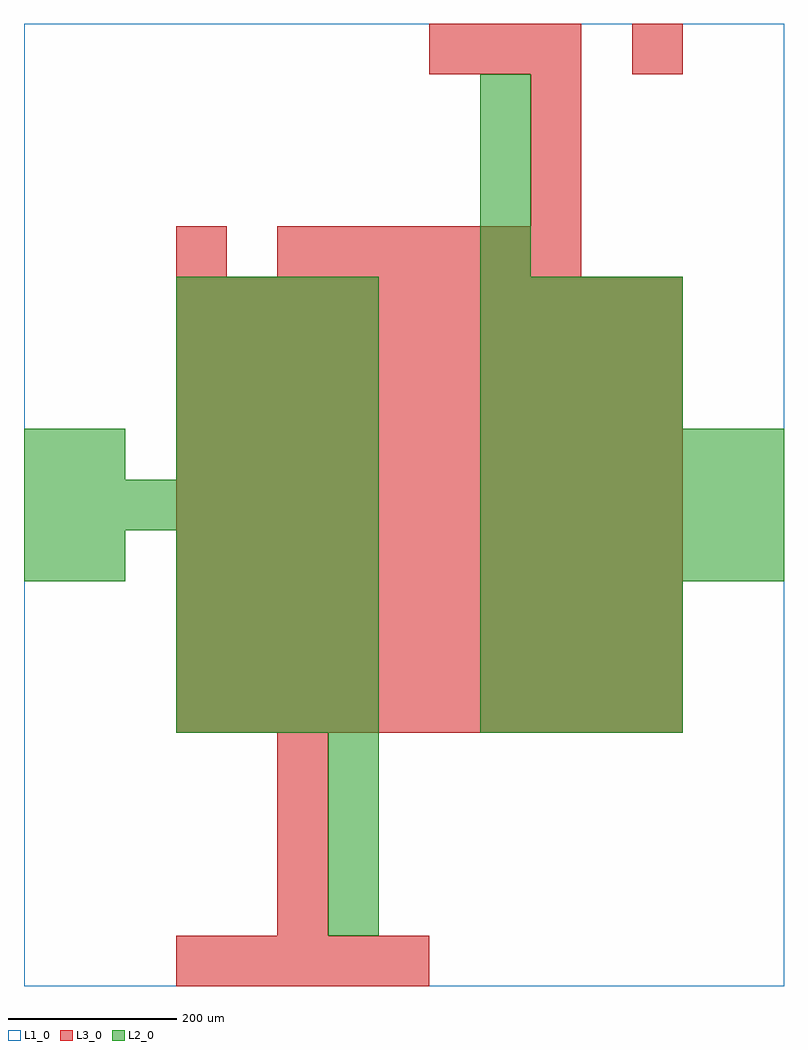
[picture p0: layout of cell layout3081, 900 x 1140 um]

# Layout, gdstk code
import gdstk
lib = gdstk.Library(unit=1e-6, precision=1e-09)
def R(c, l, rs):  # rectangles x0, y0, x1, y1
    for r in rs: c.add(gdstk.rectangle(r[:2], r[2:], *l))
def A(c, l, x, y, w, h, nx, ny, dx, dy):  # array of equal rectangles
    R(c, l, [(x+i*dx, y+j*dy, x+i*dx+w, y+j*dy+h) for i in range(nx) for j in range(ny)])
L1_0 = (1, 0)
L2_0 = (2, 0)
L3_0 = (3, 0)

layout3081 = lib.new_cell('layout3081')
R(layout3081, L1_0, [(0,0,900,1140)])
A(layout3081, L2_0, 360, 60, 60, 60, 1, 4, 0, 60)
A(layout3081, L2_0, 180, 300, 60, 60, 4, 4, 60, 60)
A(layout3081, L2_0, 540, 300, 60, 60, 4, 3, 60, 60)
A(layout3081, L2_0, 540, 480, 60, 60, 6, 3, 60, 60)
A(layout3081, L2_0, 0, 540, 60, 60, 7, 1, 60, 0)
A(layout3081, L2_0, 180, 600, 60, 60, 4, 4, 60, 60)
A(layout3081, L2_0, 540, 660, 60, 60, 4, 3, 60, 60)
A(layout3081, L2_0, 540, 840, 60, 60, 1, 4, 0, 60)
R(layout3081, L2_0, [(0,480,60,540), (60,480,120,540), (0,600,60,660), (60,600,120,660)])
A(layout3081, L3_0, 180, 0, 60, 60, 5, 1, 60, 0)
A(layout3081, L3_0, 300, 60, 60, 60, 1, 4, 0, 60)
A(layout3081, L3_0, 180, 300, 60, 60, 10, 9, 60, 60)
A(layout3081, L3_0, 300, 840, 60, 60, 6, 1, 60, 0)
A(layout3081, L3_0, 600, 900, 60, 60, 1, 3, 0, 60)
A(layout3081, L3_0, 480, 1080, 60, 60, 3, 1, 60, 0)
R(layout3081, L3_0, [(180,840,240,900), (720,1080,780,1140)])

lib.write_gds('layout3081.gds')
